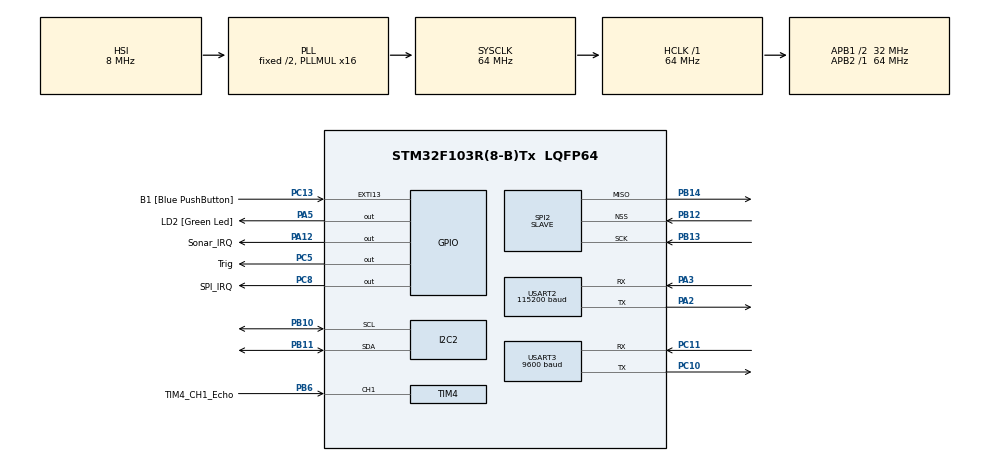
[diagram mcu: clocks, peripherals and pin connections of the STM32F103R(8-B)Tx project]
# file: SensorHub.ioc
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Dma.I2C2_RX.0.Direction=DMA_PERIPH_TO_MEMORY
Dma.I2C2_RX.0.Instance=DMA1_Channel5
Dma.I2C2_RX.0.MemDataAlignment=DMA_MDATAALIGN_BYTE
Dma.I2C2_RX.0.MemInc=DMA_MINC_ENABLE
Dma.I2C2_RX.0.Mode=DMA_NORMAL
Dma.I2C2_RX.0.PeriphDataAlignment=DMA_PDATAALIGN_BYTE
Dma.I2C2_RX.0.PeriphInc=DMA_PINC_DISABLE
Dma.I2C2_RX.0.Priority=DMA_PRIORITY_LOW
Dma.Request0=I2C2_RX
Dma.Request1=USART3_RX
Dma.USART3_RX.1.Direction=DMA_PERIPH_TO_MEMORY
Dma.USART3_RX.1.Instance=DMA1_Channel3
Dma.USART3_RX.1.MemDataAlignment=DMA_MDATAALIGN_BYTE
Dma.USART3_RX.1.MemInc=DMA_MINC_ENABLE
Dma.USART3_RX.1.Mode=DMA_NORMAL
Dma.USART3_RX.1.PeriphDataAlignment=DMA_PDATAALIGN_BYTE
Dma.USART3_RX.1.PeriphInc=DMA_PINC_DISABLE
Dma.USART3_RX.1.Priority=DMA_PRIORITY_LOW
FREERTOS.INCLUDE_vTaskDelayUntil=1
FREERTOS.Tasks01=defaultTask,0,128,StartDefaultTask,Default,NULL,Dynamic,NULL,NULL
FREERTOS.configTOTAL_HEAP_SIZE=15000
FREERTOS.configUSE_NEWLIB_REENTRANT=1
Mcu.Family=STM32F1
Mcu.Name=STM32F103R(8-B)Tx
Mcu.Package=LQFP64
NVIC.DMA1_Channel3_IRQn=true\:5\:0\:false\:false\:true\:true\:false\:true\:true
NVIC.DMA1_Channel5_IRQn=true\:5\:0\:false\:false\:true\:true\:false\:true\:true
NVIC.EXTI15_10_IRQn=true\:5\:0\:false\:false\:true\:true\:true\:true\:true
NVIC.I2C2_ER_IRQn=true\:5\:0\:false\:false\:true\:true\:true\:true\:true
NVIC.I2C2_EV_IRQn=true\:5\:0\:false\:false\:true\:true\:true\:true\:true
NVIC.PriorityGroup=NVIC_PRIORITYGROUP_4
NVIC.SPI2_IRQn=true\:5\:0\:false\:false\:true\:true\:true\:true\:true
NVIC.TIM4_IRQn=true\:5\:0\:false\:false\:true\:true\:true\:true\:true
NVIC.USART3_IRQn=true\:5\:0\:false\:false\:true\:true\:true\:true\:true
PA12.GPIO_Label=Sonar_IRQ
PA12.GPIO_PuPd=GPIO_PULLDOWN
PA12.Signal=GPIO_Output
PA13.GPIO_Label=TMS
PA13.Mode=Serial_Wire
PA13.Signal=SYS_JTMS-SWDIO
PA14.GPIO_Label=TCK
PA14.Mode=Serial_Wire
PA14.Signal=SYS_JTCK-SWCLK
PA2.GPIO_Mode=GPIO_MODE_AF_PP
PA2.GPIO_PuPd=GPIO_NOPULL
PA2.GPIO_Speed=GPIO_SPEED_FREQ_HIGH
PA2.Mode=Asynchronous
PA2.Signal=USART2_TX
PA3.GPIO_Mode=GPIO_MODE_INPUT
PA3.GPIO_PuPd=GPIO_NOPULL
PA3.GPIO_Speed=GPIO_SPEED_FREQ_LOW
PA3.Mode=Asynchronous
PA3.Signal=USART2_RX
PA5.GPIO_Label=LD2 [Green Led]
PA5.GPIO_ModeDefaultOutputPP=GPIO_MODE_OUTPUT_PP
PA5.GPIO_PuPd=GPIO_NOPULL
PA5.GPIO_Speed=GPIO_SPEED_FREQ_LOW
PA5.Signal=GPIO_Output
PB10.Mode=I2C
PB10.Signal=I2C2_SCL
PB11.Mode=I2C
PB11.Signal=I2C2_SDA
PB12.Mode=NSS_Signal_Hard_Input
PB12.Signal=SPI2_NSS
PB13.Mode=TX_Only_Simplex_Unidirect_Slave
PB13.Signal=SPI2_SCK
PB14.Mode=TX_Only_Simplex_Unidirect_Slave
PB14.Signal=SPI2_MISO
PB3.GPIO_Label=SWO
PB3.Signal=SYS_JTDO-TRACESWO
PB6.GPIO_Label=TIM4_CH1_Echo
PB6.Signal=S_TIM4_CH1
PC10.Mode=Asynchronous
PC10.Signal=USART3_TX
PC11.Mode=Asynchronous
PC11.Signal=USART3_RX
PC13-TAMPER-RTC.GPIO_Label=B1 [Blue PushButton]
PC13-TAMPER-RTC.GPIO_PuPd=GPIO_NOPULL
PC13-TAMPER-RTC.Signal=GPXTI13
PC14-OSC32_IN.Mode=LSE-External-Oscillator
PC14-OSC32_IN.Signal=RCC_OSC32_IN
PC15-OSC32_OUT.Mode=LSE-External-Oscillator
PC15-OSC32_OUT.Signal=RCC_OSC32_OUT
PC5.GPIO_Label=Trig
PC5.GPIO_PuPd=GPIO_PULLDOWN
PC5.Signal=GPIO_Output
PC8.GPIO_Label=SPI_IRQ
PC8.GPIO_PuPd=GPIO_PULLDOWN
PC8.Signal=GPIO_Output
PD0-OSC_IN.Mode=HSE-External-Clock-Source
PD0-OSC_IN.Signal=RCC_OSC_IN
PD1-OSC_OUT.Mode=HSE-External-Clock-Source
PD1-OSC_OUT.Signal=RCC_OSC_OUT
ProjectManager.HeapSize=0x200
ProjectManager.StackSize=0x400
ProjectManager.TargetToolchain=STM32CubeIDE
RCC.AHBFreq_Value=64000000
RCC.APB1CLKDivider=RCC_HCLK_DIV2
RCC.APB1Freq_Value=32000000
RCC.APB1TimFreq_Value=64000000
RCC.APB2Freq_Value=64000000
RCC.APB2TimFreq_Value=64000000
RCC.HCLKFreq_Value=64000000
RCC.PLLMUL=RCC_PLL_MUL16
RCC.RTCClockSelection=RCC_RTCCLKSOURCE_LSE
RCC.SYSCLKFreq_VALUE=64000000
RCC.SYSCLKSource=RCC_SYSCLKSOURCE_PLLCLK
RCC.USBFreq_Value=64000000
SH.S_TIM4_CH1.0=TIM4_CH1,Input_Capture1_from_TI1
SH.S_TIM4_CH1.1=TIM4_CH1,TriggerSource_TI1ED
SPI2.CRCCalculation=SPI_CRCCALCULATION_DISABLE
SPI2.Direction=SPI_DIRECTION_2LINES
SPI2.Mode=SPI_MODE_SLAVE
SPI2.VirtualNSS=VM_NSSHARD
SPI2.VirtualType=VM_SLAVE
TIM3.Prescaler=64-1
TIM4.Channel-Input_Capture1_from_TI1=TIM_CHANNEL_1
TIM4.ICPolarity_CH1=TIM_INPUTCHANNELPOLARITY_RISING
TIM4.Prescaler=64-1
USART2.BaudRate=115200
USART2.VirtualMode=VM_ASYNC
USART3.BaudRate=9600
USART3.VirtualMode=VM_ASYNC
VP_FREERTOS_VS_CMSIS_V1.Mode=CMSIS_V1
VP_TIM3_VS_ClockSourceINT.Mode=Internal
VP_TIM4_VS_ClockSourceINT.Mode=Internal
VP_TIM4_VS_ControllerModeReset.Mode=Reset Mode
board=NUCLEO-F103RB

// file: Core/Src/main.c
/* USER CODE BEGIN Header */
/**
  ******************************************************************************
  * @file           : main.c
  * @brief          : Main program body
  ******************************************************************************
  * @attention
  *
  * Copyright (c) 2026 STMicroelectronics.
  * All rights reserved.
  *
  * This software is licensed under terms that can be found in the LICENSE file
  * in the root directory of this software component.
  * If no LICENSE file comes with this software, it is provided AS-IS.
  *
  ******************************************************************************
  */
/* USER CODE END Header */
#include "main.h"
#include "cmsis_os.h"

/* USER CODE BEGIN Includes */
#include <stdio.h>
#include <stdint.h>
/* USER CODE END Includes */

/* USER CODE BEGIN PD */
#define TASK_CO_PRIO		10
#define TASK_IMU_PRIO		11
#define TASK_SONAR_PRIO		12
#define TASK_REPORT_PRIO	13

#define LIS3DH_ADDR			0x18
#define LIS3DH_REG_STATUS	0x27	// 데이터 상태 레지스터
#define LIS3DH_REG_OUT_X_L	(0x28 | 0x80)

#define DEBUG

/* USER CODE END PD */

I2C_HandleTypeDef hi2c2;
DMA_HandleTypeDef hdma_i2c2_rx;

SPI_HandleTypeDef hspi2;

TIM_HandleTypeDef htim3;
TIM_HandleTypeDef htim4;

UART_HandleTypeDef huart2;
UART_HandleTypeDef huart3;
DMA_HandleTypeDef hdma_usart3_rx;

osThreadId defaultTaskHandle;
/* USER CODE BEGIN PV */

// CO SENSOR
static TaskHandle_t 	xCOHandle;
static uint8_t 			CO_UART_RxBuffer[9];	// CO 센서 데이터 읽어올 변수
static uint16_t 		CO_PPM;

// IMU SENSOR
static TaskHandle_t 	xIMUHandle;
static uint8_t			IMU_I2C_RxBuffer[6];	// xyz 데이터 읽어올 변수
static uint8_t			IMU_accident_bool;
static int16_t 			x, y, z;

// Sonar SENSOR
static TaskHandle_t 	xSonarHandle;
static int 				SONAR_distance;

static TaskHandle_t 	xReportHandle;

// Report Task
static uint8_t 			REPORT_spi_ok;
/* USER CODE END PV */

void SystemClock_Config(void);
static void MX_GPIO_Init(void);
static void MX_DMA_Init(void);
static void MX_I2C2_Init(void);
static void MX_SPI2_Init(void);
static void MX_USART2_UART_Init(void);
static void MX_USART3_UART_Init(void);
static void MX_TIM4_Init(void);
static void MX_TIM3_Init(void);
void StartDefaultTask(void const * argument);

/* USER CODE BEGIN PFP */
void Task_DEBUG(void *pvParameters);
void CO_Init(void);
void Task_CO( void *pvParameters );
void IMU_Init(void);
void Task_IMU( void *pvParameters );
void Sonar_Init(void);
void Task_Sonar( void *pvParameters );
void Task_Report( void *pvParameters );
/* USER CODE END PFP */

/* USER CODE BEGIN 0 */
int __io_putchar(int ch)
{
 if ( ch == '\n' )
	 HAL_UART_Transmit(&huart2, (uint8_t*)&"\r", 1, HAL_MAX_DELAY);
 HAL_UART_Transmit(&huart2, (uint8_t*)&ch, 1, HAL_MAX_DELAY);
 return ch;
}
/* USER CODE END 0 */

int main(void)
{

  /* MCU Configuration--------------------------------------------------------*/

  /* Reset of all peripherals, Initializes the Flash interface and the Systick. */
  HAL_Init();

  /* Configure the system clock */
  SystemClock_Config();

  /* Initialize all configured peripherals */
  MX_GPIO_Init();
  MX_DMA_Init();
  MX_I2C2_Init();
  MX_SPI2_Init();
  MX_USART2_UART_Init();
  MX_USART3_UART_Init();
  MX_TIM4_Init();
  MX_TIM3_Init();
  /* USER CODE BEGIN 2 */
  CO_Init();
  IMU_Init();
  Sonar_Init();
  printf("Initialization Complete!\n");

  /* USER CODE END 2 */

  /* Create the thread(s) */
  /* definition and creation of defaultTask */
  osThreadDef(defaultTask, StartDefaultTask, osPriorityNormal, 0, 128);
  defaultTaskHandle = osThreadCreate(osThread(defaultTask), NULL);

  /* USER CODE BEGIN RTOS_THREADS */
  /* add threads, ... */
  BaseType_t xReturnedCO;
  xReturnedCO = xTaskCreate(		(TaskFunction_t)Task_CO,
									"Task_CO",
									512+256,
									NULL,
									TASK_CO_PRIO,
									&xCOHandle);
  if(xReturnedCO == pdPASS){
	  printf("CO Task created! %l\n", xReturnedCO);
  }

  BaseType_t xReturnedIMU;
  xReturnedIMU = xTaskCreate(		(TaskFunction_t)Task_IMU,
									"Task_IMU",
									1024,
									NULL,
									TASK_IMU_PRIO,
									&xIMUHandle);
  if(xReturnedIMU == pdPASS){
  	  printf("IMU Task created! %l\n", xReturnedIMU);
  }

  BaseType_t xReturnedSonar;
  xReturnedSonar = xTaskCreate(		(TaskFunction_t)Task_Sonar,
  									"Task_Sonar",
  									512,
  									NULL,
									TASK_SONAR_PRIO,
  									&xSonarHandle);
  if(xReturnedSonar == pdPASS){
  	  printf("Sonar Task created! %l\n", xReturnedSonar);
  }

  BaseType_t xReturnedReport;
  xReturnedReport = xTaskCreate(	(TaskFunction_t)Task_Report,
									"Task_Report",
									512+256,
									NULL,
									TASK_REPORT_PRIO,
									&xReportHandle);
  if(xReturnedReport == pdPASS){
	  printf("Report Task created! %l\n", xReturnedReport);
  }

#ifdef DEBUG
  BaseType_t xReturnedDebug;
  xReturnedDebug = xTaskCreate(	(TaskFunction_t)Task_DEBUG,
  									"Task_Debug",
  									128,
  									NULL,
  									1,
  									&xReportHandle);
  if(xReturnedDebug == pdPASS){
  	  printf("Debug Task created! %l\n", xReturnedDebug);
  }
#endif
  /* USER CODE END RTOS_THREADS */

  /* Start scheduler */
  osKernelStart();

  /* We should never get here as control is now taken by the scheduler */

  /* Infinite loop */
  while (1)
  {

  }
}

void SystemClock_Config(void)
{
  RCC_OscInitTypeDef RCC_OscInitStruct = {0};
  RCC_ClkInitTypeDef RCC_ClkInitStruct = {0};

  /** Initializes the RCC Oscillators according to the specified parameters
  * in the RCC_OscInitTypeDef structure.
  */
  RCC_OscInitStruct.OscillatorType = RCC_OSCILLATORTYPE_HSI;
  RCC_OscInitStruct.HSIState = RCC_HSI_ON;
  RCC_OscInitStruct.HSICalibrationValue = RCC_HSICALIBRATION_DEFAULT;
  RCC_OscInitStruct.PLL.PLLState = RCC_PLL_ON;
  RCC_OscInitStruct.PLL.PLLSource = RCC_PLLSOURCE_HSI_DIV2;
  RCC_OscInitStruct.PLL.PLLMUL = RCC_PLL_MUL16;
  if (HAL_RCC_OscConfig(&RCC_OscInitStruct) != HAL_OK)
  {
    Error_Handler();
  }

  /** Initializes the CPU, AHB and APB buses clocks
  */
  RCC_ClkInitStruct.ClockType = RCC_CLOCKTYPE_HCLK|RCC_CLOCKTYPE_SYSCLK
                              |RCC_CLOCKTYPE_PCLK1|RCC_CLOCKTYPE_PCLK2;
  RCC_ClkInitStruct.SYSCLKSource = RCC_SYSCLKSOURCE_PLLCLK;
  RCC_ClkInitStruct.AHBCLKDivider = RCC_SYSCLK_DIV1;
  RCC_ClkInitStruct.APB1CLKDivider = RCC_HCLK_DIV2;
  RCC_ClkInitStruct.APB2CLKDivider = RCC_HCLK_DIV1;

  if (HAL_RCC_ClockConfig(&RCC_ClkInitStruct, FLASH_LATENCY_2) != HAL_OK)
  {
    Error_Handler();
  }
}

static void MX_I2C2_Init(void)
{

  hi2c2.Instance = I2C2;
  hi2c2.Init.ClockSpeed = 100000;
  hi2c2.Init.DutyCycle = I2C_DUTYCYCLE_2;
  hi2c2.Init.OwnAddress1 = 0;
  hi2c2.Init.AddressingMode = I2C_ADDRESSINGMODE_7BIT;
  hi2c2.Init.DualAddressMode = I2C_DUALADDRESS_DISABLE;
  hi2c2.Init.OwnAddress2 = 0;
  hi2c2.Init.GeneralCallMode = I2C_GENERALCALL_DISABLE;
  hi2c2.Init.NoStretchMode = I2C_NOSTRETCH_DISABLE;
  if (HAL_I2C_Init(&hi2c2) != HAL_OK)
  {
    Error_Handler();
  }

}

static void MX_SPI2_Init(void)
{

  /* SPI2 parameter configuration*/
  hspi2.Instance = SPI2;
  hspi2.Init.Mode = SPI_MODE_SLAVE;
  hspi2.Init.Direction = SPI_DIRECTION_2LINES;
  hspi2.Init.DataSize = SPI_DATASIZE_8BIT;
  hspi2.Init.CLKPolarity = SPI_POLARITY_LOW;
  hspi2.Init.CLKPhase = SPI_PHASE_1EDGE;
  hspi2.Init.NSS = SPI_NSS_HARD_INPUT;
  hspi2.Init.FirstBit = SPI_FIRSTBIT_MSB;
  hspi2.Init.TIMode = SPI_TIMODE_DISABLE;
  hspi2.Init.CRCCalculation = SPI_CRCCALCULATION_DISABLE;
  hspi2.Init.CRCPolynomial = 10;
  if (HAL_SPI_Init(&hspi2) != HAL_OK)
  {
    Error_Handler();
  }

}

static void MX_TIM3_Init(void)
{

  TIM_ClockConfigTypeDef sClockSourceConfig = {0};
  TIM_MasterConfigTypeDef sMasterConfig = {0};

  htim3.Instance = TIM3;
  htim3.Init.Prescaler = 64-1;
  htim3.Init.CounterMode = TIM_COUNTERMODE_UP;
  htim3.Init.Period = 65535;
  htim3.Init.ClockDivision = TIM_CLOCKDIVISION_DIV1;
  htim3.Init.AutoReloadPreload = TIM_AUTORELOAD_PRELOAD_DISABLE;
  if (HAL_TIM_Base_Init(&htim3) != HAL_OK)
  {
    Error_Handler();
  }
  sClockSourceConfig.ClockSource = TIM_CLOCKSOURCE_INTERNAL;
  if (HAL_TIM_ConfigClockSource(&htim3, &sClockSourceConfig) != HAL_OK)
  {
    Error_Handler();
  }
  sMasterConfig.MasterOutputTrigger = TIM_TRGO_RESET;
  sMasterConfig.MasterSlaveMode = TIM_MASTERSLAVEMODE_DISABLE;
  if (HAL_TIMEx_MasterConfigSynchronization(&htim3, &sMasterConfig) != HAL_OK)
  {
    Error_Handler();
  }

}

static void MX_TIM4_Init(void)
{

  TIM_ClockConfigTypeDef sClockSourceConfig = {0};
  TIM_SlaveConfigTypeDef sSlaveConfig = {0};
  TIM_MasterConfigTypeDef sMasterConfig = {0};
  TIM_IC_InitTypeDef sConfigIC = {0};

  htim4.Instance = TIM4;
  htim4.Init.Prescaler = 64-1;
  htim4.Init.CounterMode = TIM_COUNTERMODE_UP;
  htim4.Init.Period = 65535;
  htim4.Init.ClockDivision = TIM_CLOCKDIVISION_DIV1;
  htim4.Init.AutoReloadPreload = TIM_AUTORELOAD_PRELOAD_DISABLE;
  if (HAL_TIM_Base_Init(&htim4) != HAL_OK)
  {
    Error_Handler();
  }
  sClockSourceConfig.ClockSource = TIM_CLOCKSOURCE_INTERNAL;
  if (HAL_TIM_ConfigClockSource(&htim4, &sClockSourceConfig) != HAL_OK)
  {
    Error_Handler();
  }
  if (HAL_TIM_IC_Init(&htim4) != HAL_OK)
  {
    Error_Handler();
  }
  sSlaveConfig.SlaveMode = TIM_SLAVEMODE_RESET;
  sSlaveConfig.InputTrigger = TIM_TS_TI1F_ED;
  sSlaveConfig.TriggerPolarity = TIM_INPUTCHANNELPOLARITY_RISING;
  sSlaveConfig.TriggerFilter = 0;
  if (HAL_TIM_SlaveConfigSynchro(&htim4, &sSlaveConfig) != HAL_OK)
  {
    Error_Handler();
  }
  sMasterConfig.MasterOutputTrigger = TIM_TRGO_RESET;
  sMasterConfig.MasterSlaveMode = TIM_MASTERSLAVEMODE_DISABLE;
  if (HAL_TIMEx_MasterConfigSynchronization(&htim4, &sMasterConfig) != HAL_OK)
  {
    Error_Handler();
  }
  sConfigIC.ICPolarity = TIM_INPUTCHANNELPOLARITY_RISING;
  sConfigIC.ICSelection = TIM_ICSELECTION_DIRECTTI;
  sConfigIC.ICPrescaler = TIM_ICPSC_DIV1;
  sConfigIC.ICFilter = 0;
  if (HAL_TIM_IC_ConfigChannel(&htim4, &sConfigIC, TIM_CHANNEL_1) != HAL_OK)
  {
    Error_Handler();
  }

}

static void MX_USART2_UART_Init(void)
{

  huart2.Instance = USART2;
  huart2.Init.BaudRate = 115200;
  huart2.Init.WordLength = UART_WORDLENGTH_8B;
  huart2.Init.StopBits = UART_STOPBITS_1;
  huart2.Init.Parity = UART_PARITY_NONE;
  huart2.Init.Mode = UART_MODE_TX_RX;
  huart2.Init.HwFlowCtl = UART_HWCONTROL_NONE;
  huart2.Init.OverSampling = UART_OVERSAMPLING_16;
  if (HAL_UART_Init(&huart2) != HAL_OK)
  {
    Error_Handler();
  }

}

static void MX_USART3_UART_Init(void)
{

  huart3.Instance = USART3;
  huart3.Init.BaudRate = 9600;
  huart3.Init.WordLength = UART_WORDLENGTH_8B;
  huart3.Init.StopBits = UART_STOPBITS_1;
  huart3.Init.Parity = UART_PARITY_NONE;
  huart3.Init.Mode = UART_MODE_TX_RX;
  huart3.Init.HwFlowCtl = UART_HWCONTROL_NONE;
  huart3.Init.OverSampling = UART_OVERSAMPLING_16;
  if (HAL_UART_Init(&huart3) != HAL_OK)
  {
    Error_Handler();
  }

}

static void MX_DMA_Init(void)
{

  /* DMA controller clock enable */
  __HAL_RCC_DMA1_CLK_ENABLE();

  /* DMA interrupt init */
  /* DMA1_Channel3_IRQn interrupt configuration */
  HAL_NVIC_SetPriority(DMA1_Channel3_IRQn, 5, 0);
  HAL_NVIC_EnableIRQ(DMA1_Channel3_IRQn);
  /* DMA1_Channel5_IRQn interrupt configuration */
  HAL_NVIC_SetPriority(DMA1_Channel5_IRQn, 5, 0);
  HAL_NVIC_EnableIRQ(DMA1_Channel5_IRQn);

}

static void MX_GPIO_Init(void)
{
  GPIO_InitTypeDef GPIO_InitStruct = {0};

  /* GPIO Ports Clock Enable */
  __HAL_RCC_GPIOC_CLK_ENABLE();
  __HAL_RCC_GPIOD_CLK_ENABLE();
  __HAL_RCC_GPIOA_CLK_ENABLE();
  __HAL_RCC_GPIOB_CLK_ENABLE();

  /*Configure GPIO pin Output Level */
  HAL_GPIO_WritePin(GPIOA, LD2_Pin|Sonar_IRQ_Pin, GPIO_PIN_RESET);

  /*Configure GPIO pin Output Level */
  HAL_GPIO_WritePin(GPIOC, Trig_Pin|SPI_IRQ_Pin, GPIO_PIN_RESET);

  /*Configure GPIO pin : B1_Pin */
  GPIO_InitStruct.Pin = B1_Pin;
  GPIO_InitStruct.Mode = GPIO_MODE_IT_RISING;
  GPIO_InitStruct.Pull = GPIO_NOPULL;
  HAL_GPIO_Init(B1_GPIO_Port, &GPIO_InitStruct);

  /*Configure GPIO pin : LD2_Pin */
  GPIO_InitStruct.Pin = LD2_Pin;
  GPIO_InitStruct.Mode = GPIO_MODE_OUTPUT_PP;
  GPIO_InitStruct.Pull = GPIO_NOPULL;
  GPIO_InitStruct.Speed = GPIO_SPEED_FREQ_LOW;
  HAL_GPIO_Init(LD2_GPIO_Port, &GPIO_InitStruct);

  /*Configure GPIO pins : Trig_Pin SPI_IRQ_Pin */
  GPIO_InitStruct.Pin = Trig_Pin|SPI_IRQ_Pin;
  GPIO_InitStruct.Mode = GPIO_MODE_OUTPUT_PP;
  GPIO_InitStruct.Pull = GPIO_PULLDOWN;
  GPIO_InitStruct.Speed = GPIO_SPEED_FREQ_LOW;
  HAL_GPIO_Init(GPIOC, &GPIO_InitStruct);

  /*Configure GPIO pin : Sonar_IRQ_Pin */
  GPIO_InitStruct.Pin = Sonar_IRQ_Pin;
  GPIO_InitStruct.Mode = GPIO_MODE_OUTPUT_PP;
  GPIO_InitStruct.Pull = GPIO_PULLDOWN;
  GPIO_InitStruct.Speed = GPIO_SPEED_FREQ_LOW;
  HAL_GPIO_Init(Sonar_IRQ_GPIO_Port, &GPIO_InitStruct);

  /* EXTI interrupt init*/
  HAL_NVIC_SetPriority(EXTI15_10_IRQn, 5, 0);
  HAL_NVIC_EnableIRQ(EXTI15_10_IRQn);

}

/* USER CODE BEGIN 4 */

void Task_DEBUG(void *pvParameters){
	for(;;){
		printf("\nCO : %u/10 ppm\nIMU: %u\nSonar: %d\nReport: %u\n",
				CO_PPM, IMU_accident_bool, SONAR_distance, REPORT_spi_ok);

		vTaskDelay(pdMS_TO_TICKS(1000));

	}
}

void CO_Init(void){

}

// Deferred interrupt Processing
void Task_CO( void *pvParameters )
{
	uint32_t ulNotifiedValue;
	pvParameters = pvParameters;	// for compiler warning
	uint16_t temp_co_ppm;

  TickType_t xLastWakeTime;
	xLastWakeTime = xTaskGetTickCount();

  HAL_UART_Receive_DMA(&huart3, CO_UART_RxBuffer, 9);

	for(;;) {
		ulNotifiedValue = ulTaskNotifyTake(pdTRUE, pdMS_TO_TICKS(1500));	// 인터럽트 처리기로부터 이벤트를 기다린다. & 1.5초 대기
//		printf("(0=CO timeout): %u\n", ulNotifiedValue);

		temp_co_ppm = ((CO_UART_RxBuffer[4] << 8) | CO_UART_RxBuffer[5]);		// Corrected formula

		taskENTER_CRITICAL();
		CO_PPM = temp_co_ppm;
		taskEXIT_CRITICAL();
	}

  HAL_UART_Receive_DMA(&huart3, CO_UART_RxBuffer, 9);		// 9 byte 읽어오기
  vTaskDelayUntil(&xLastWakeTime, pdMS_TO_TICKS(1000));
}

void HAL_UART_RxCpltCallback(UART_HandleTypeDef *huart){
	static portBASE_TYPE xHigherPriorityTaskWoken;

	if (huart->Instance == USART3)
	{
		xHigherPriorityTaskWoken = pdFALSE;
		vTaskNotifyGiveFromISR(xCOHandle, &xHigherPriorityTaskWoken);
		portYIELD_FROM_ISR(&xHigherPriorityTaskWoken);
	}
}

// (26.02.18)
void IMU_Init(void){
	uint16_t 	IMU_ctrl_reg1_addr = 0x20;	// CTRL_RRG1 주소
	uint8_t 	config = 0b01010111;	// ODR 100Hz, xyz 축 활성화(Normal 모드), datasheet p35
	HAL_I2C_Mem_Write(&hi2c2, (LIS3DH_ADDR << 1), IMU_ctrl_reg1_addr, I2C_MEMADD_SIZE_8BIT, &config, 1, 100);
}

void Task_IMU( void *pvParameters )
{
//	const char *pcTaskName = "Task_IMU";
//	printf("%s is running\n", pcTaskName);fflush(stdout);
	pvParameters = pvParameters;	// for compiler warning

	TickType_t xLastWakeTime;
	xLastWakeTime = xTaskGetTickCount();

	HAL_StatusTypeDef status;

	for(;;){
		// I2C(DMA)로 IMU데이터 읽어오기
		status = HAL_I2C_Mem_Read_DMA(&hi2c2, (LIS3DH_ADDR << 1), (0x28 | 0x80), I2C_MEMADD_SIZE_8BIT, IMU_I2C_RxBuffer, 6);	// IMU 레지스터 6byte 읽어오기
		if (status == HAL_OK) {
			if (ulTaskNotifyTake(pdTRUE, pdMS_TO_TICKS(5))) {
				// 전복 여부 계산하기
				x = (int16_t)((IMU_I2C_RxBuffer[1] << 8) | IMU_I2C_RxBuffer[0]);
				y = (int16_t)((IMU_I2C_RxBuffer[3] << 8) | IMU_I2C_RxBuffer[2]);
				z = (int16_t)((IMU_I2C_RxBuffer[5] << 8) | IMU_I2C_RxBuffer[4]);
				if (y > 14000 || y < -14000 || x > 14000 || x < -14000){
//					printf("ACCIDENT OCCURED!\n");
					taskENTER_CRITICAL();
					IMU_accident_bool = 1;
					taskEXIT_CRITICAL();
				}
				else{
					taskENTER_CRITICAL();
					IMU_accident_bool = 0;
					taskEXIT_CRITICAL();
				}
			}
			else{
				// DMA 완료 알림 안오는 경우
				printf("IMU DMA Timeout!\n");
			}
		}
		else{
			// I2C 통신 실패
			printf("I2C Error status: %d\n", status);	// 2(dma busy), 1(error)
		}

		// Task 주기 10ms
		vTaskDelayUntil(&xLastWakeTime, pdMS_TO_TICKS(30));
	}
}

void HAL_I2C_MemRxCpltCallback(I2C_HandleTypeDef *hi2c) {
	static portBASE_TYPE xHigherPriorityTaskWoken;

    if (hi2c->Instance == I2C2) {
		xHigherPriorityTaskWoken = pdFALSE;
		vTaskNotifyGiveFromISR(xIMUHandle, &xHigherPriorityTaskWoken);
		portYIELD_FROM_ISR(&xHigherPriorityTaskWoken);
    }
}

// (26.02.18)
void Sonar_Init(void){
	// 없음.
}

void Task_Sonar( void *pvParameters ){
//	const char *pcTaskName = "Task_Sonar";
//	printf("%s is running\n", pcTaskName);
	pvParameters = pvParameters;	// for compiler warning

	for (;;){
		// Input Capture 인터럽트 활성화
		HAL_TIM_IC_Start_IT(&htim4, TIM_CHANNEL_1);

		// 10us 펄스 생성
		HAL_GPIO_WritePin(Trig_GPIO_Port, Trig_Pin, GPIO_PIN_SET);
		__HAL_TIM_SET_COUNTER(&htim4, 0);
		while (__HAL_TIM_GET_COUNTER(&htim4) < 10);	// delay 10us
		HAL_GPIO_WritePin(Trig_GPIO_Port, Trig_Pin, GPIO_PIN_RESET);

		// 인터럽트 콜백 도착 대기 (최대 40ms)
		if (ulTaskNotifyTake(pdTRUE, pdMS_TO_TICKS(40)) == pdPASS)
		{
			if (SONAR_distance < 15 && SONAR_distance > 0) {
				HAL_GPIO_WritePin(Sonar_IRQ_GPIO_Port, Sonar_IRQ_Pin, GPIO_PIN_SET);
//				printf("넘나 가까운것\n");
			}
			else if (SONAR_distance > 400){
				HAL_GPIO_WritePin(Sonar_IRQ_GPIO_Port, Sonar_IRQ_Pin, GPIO_PIN_RESET);
				taskENTER_CRITICAL();
				SONAR_distance = -1;
				taskEXIT_CRITICAL();
			}
			else{
				HAL_GPIO_WritePin(Sonar_IRQ_GPIO_Port, Sonar_IRQ_Pin, GPIO_PIN_RESET);
			}
		}
		else
		{
			// 타임아웃 발생 시 다음 측정을 위해 인터럽트 중지
			HAL_TIM_IC_Stop_IT(&htim4, TIM_CHANNEL_1);
//			printf("Echo 도착 안했음\n");
			HAL_GPIO_WritePin(Sonar_IRQ_GPIO_Port, Sonar_IRQ_Pin, GPIO_PIN_RESET);
			taskENTER_CRITICAL();
			SONAR_distance = -1;
			taskEXIT_CRITICAL();
		}

		vTaskDelay(pdMS_TO_TICKS(10));
	}
}

void HAL_TIM_IC_CaptureCallback(TIM_HandleTypeDef *htim){
	if (htim->Instance == TIM4){
		if (HAL_GPIO_ReadPin(GPIOB, GPIO_PIN_6) == GPIO_PIN_SET)
		{
			// Rising Edge
			// 타이머 카운터를 0으로 리셋 (신호 시작점)
			__HAL_TIM_SET_COUNTER(htim, 0);

			// 다음 인터럽트는 Falling Edge에서 발생하도록 설정 변경
			__HAL_TIM_SET_CAPTUREPOLARITY(htim, TIM_CHANNEL_1, TIM_INPUTCHANNELPOLARITY_FALLING);
		}
		else
		{
			// Falling Edge
			// 현재까지의 카운트 값을 읽어옴 (us 단위)
			uint32_t duration = HAL_TIM_ReadCapturedValue(htim, TIM_CHANNEL_1);
			SONAR_distance = duration / 58;

			// 다음 측정을 위해 다시 Rising Edge로 설정 초기화
			__HAL_TIM_SET_CAPTUREPOLARITY(htim, TIM_CHANNEL_1, TIM_INPUTCHANNELPOLARITY_RISING);

			// 측정이 끝났으므로 인터럽트 중지
			HAL_TIM_IC_Stop_IT(htim, TIM_CHANNEL_1);

			// Task에 알림 전달
			BaseType_t xHigherPriorityTaskWoken = pdFALSE;
			vTaskNotifyGiveFromISR(xSonarHandle, &xHigherPriorityTaskWoken);
			portYIELD_FROM_ISR(xHigherPriorityTaskWoken);
		}
	}
}

void Task_Report( void *pvParameters ){
//	const char *pcTaskName = "Task_Report";
//	printf("%s is running\n", pcTaskName);
	pvParameters = pvParameters;	// for compiler warning
	static uint8_t report_spi[7];		// 패킷 구성: CO_PPM(2) + distance(4) + IMU_accident_bool(1) = 총 7바이트
	TickType_t xLastWakeTime = xTaskGetTickCount();
	HAL_StatusTypeDef spi_status;
	HAL_StatusTypeDef status = HAL_TIM_Base_Start(&htim3);
	if (status != HAL_OK){
		printf("TIM3 실행 에러!!\n");
	}
	HAL_TIM_IC_Start(&htim3, TIM_CHANNEL_1);

	for (;;){
		taskENTER_CRITICAL();
    uint16_t CO_PPM_temp = CO_PPM;
    int SONAR_distance_temp = SONAR_distance;
    uint8_t IMU_accident_bool_temp = IMU_accident_bool;
		taskEXIT_CRITICAL();

		report_spi[0] = (uint8_t)(CO_PPM_temp >> 8);
		report_spi[1] = (uint8_t)(CO_PPM_temp & 0xFF);
		report_spi[2] = (uint8_t)(SONAR_distance_temp >> 24);
		report_spi[3] = (uint8_t)(SONAR_distance_temp >> 16);
		report_spi[4] = (uint8_t)(SONAR_distance_temp >> 8);
		report_spi[5] = (uint8_t)(SONAR_distance_temp & 0xFF);
		report_spi[6] = IMU_accident_bool_temp;

#ifdef DEBUG
		printf("Tx : %02X %02X %02X %02X %02X %02X %02X\n",
				report_spi[0], report_spi[1], report_spi[2], report_spi[3],
				report_spi[4], report_spi[5], report_spi[6]);
#endif
    // ?
		__HAL_SPI_DISABLE(&hspi2);  // SPI 잠시 끔
		(void)hspi2.Instance->DR;    // Data Register 강제 읽기로 잔류 데이터 소거
		(void)hspi2.Instance->SR;    // Status Register 클리어
		__HAL_SPI_ENABLE(&hspi2);   // 다시 켬

		spi_status = HAL_SPI_Transmit_IT(&hspi2, report_spi, 7);
		if(spi_status == HAL_OK){
			// SPI 전송을 위한 Handshake Pulse 보내기.
			HAL_GPIO_WritePin(SPI_IRQ_GPIO_Port, SPI_IRQ_Pin, GPIO_PIN_SET);
			__HAL_TIM_SET_COUNTER(&htim3, 0);
			while (__HAL_TIM_GET_COUNTER(&htim3) < 50);	// 50us
			HAL_GPIO_WritePin(SPI_IRQ_GPIO_Port, SPI_IRQ_Pin, GPIO_PIN_RESET);
			REPORT_spi_ok = 1;
		}
		else {
			printf("SPI Error: %d, Retrying...\n", spi_status);
			HAL_SPI_Abort(&hspi2);	// 이전 전송 중단
			hspi2.State = HAL_SPI_STATE_READY; // 상태 강제 초기화
			REPORT_spi_ok = 0;
		}

		vTaskDelayUntil(&xLastWakeTime, pdMS_TO_TICKS(100));
	}
}
/* USER CODE END 4 */

void StartDefaultTask(void const * argument)
{
  /* USER CODE BEGIN 5 */
	const char *pcTaskName = "Default_LED_Task";
	printf("%s is running\r\n", pcTaskName);

	TickType_t xLastWakeTime;
	const TickType_t xFrequency = pdMS_TO_TICKS(500);
	xLastWakeTime = xTaskGetTickCount();

  /* Infinite loop */
  for(;;)
  {
	  // FOR SANITY CHECK!
	  HAL_GPIO_TogglePin(LD2_GPIO_Port, LD2_Pin);
	  vTaskDelayUntil( &xLastWakeTime, xFrequency);
  }
  /* USER CODE END 5 */
}

void Error_Handler(void)
{
  __disable_irq();
  while (1)
  {
  }
}
